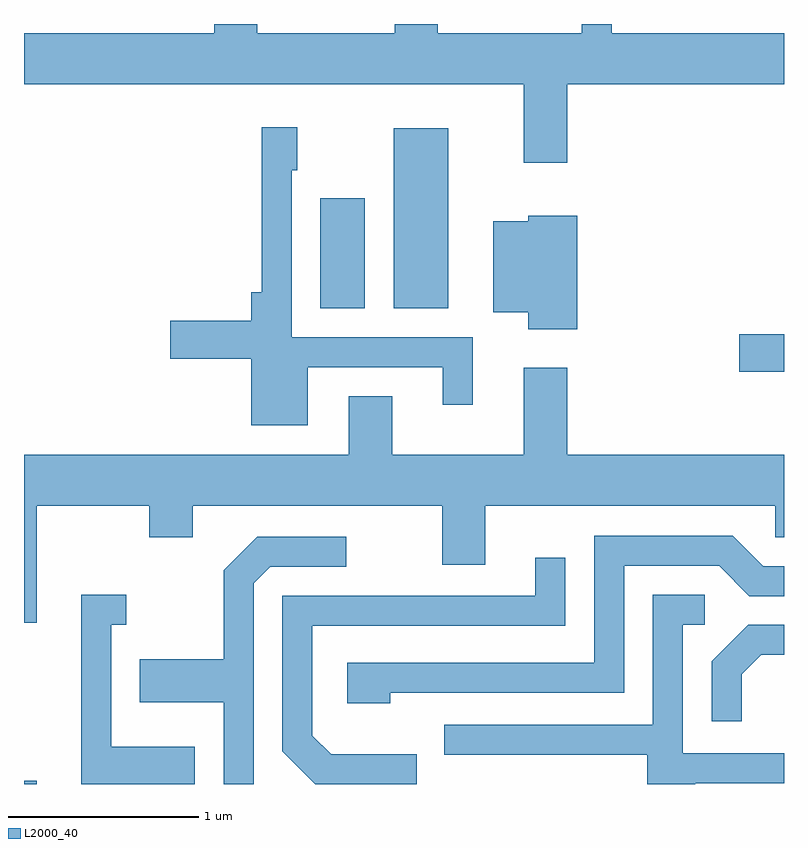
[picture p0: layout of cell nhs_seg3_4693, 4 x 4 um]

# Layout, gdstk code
import gdstk
lib = gdstk.Library(unit=1e-6, precision=1e-09)
def R(c, l, rs):  # rectangles x0, y0, x1, y1
    for r in rs: c.add(gdstk.rectangle(r[:2], r[2:], *l))
def P(c, l, *ps):  # polygons
    for p in ps: c.add(gdstk.Polygon(p, *l))
L2000_40 = (2000, 40)

nhs_seg3_4693 = lib.new_cell('nhs_seg3_4693')
R(nhs_seg3_4693, L2000_40, [(323.611,1117.892,323.679,1117.909), (327.376,1120.061,327.611,1120.259), (325.171,1120.396,325.404,1120.974), (325.556,1120.396,325.844,1121.344)])
P(nhs_seg3_4693, L2000_40, [(326.469,1121.576),(327.611,1121.576),(327.611,1121.844),(326.704,1121.844),(326.704,1121.892),(326.546,1121.892),(326.546,1121.844),(325.789,1121.844),(325.789,1121.892),(325.561,1121.892),(325.561,1121.844),(324.839,1121.844),(324.839,1121.892),(324.611,1121.892),(324.611,1121.844),(323.611,1121.844),(323.611,1121.576),(326.241,1121.576),(326.241,1121.161),(326.469,1121.161)],
  [(325.104,1120.086),(325.816,1120.086),(325.816,1119.888),(325.974,1119.888),(325.974,1120.244),(325.019,1120.244),(325.019,1121.121),(325.049,1121.121),(325.049,1121.349),(324.861,1121.349),(324.861,1120.479),(324.806,1120.479),(324.806,1120.329),(324.381,1120.329),(324.381,1120.131),(324.806,1120.131),(324.806,1119.781),(325.104,1119.781)],
  [(326.524,1120.884),(326.266,1120.884),(326.266,1120.854),(326.081,1120.854),(326.081,1120.376),(326.266,1120.376),(326.266,1120.286),(326.524,1120.286)],
  [(323.679,1119.356),(324.271,1119.356),(324.271,1119.191),(324.499,1119.191),(324.499,1119.356),(325.811,1119.356),(325.811,1119.046),(326.039,1119.046),(326.039,1119.356),(327.566,1119.356),(327.566,1119.191),(327.611,1119.191),(327.611,1119.624),(326.469,1119.624),(326.469,1120.084),(326.241,1120.084),(326.241,1119.624),(325.549,1119.624),(325.549,1119.934),(325.321,1119.934),(325.321,1119.624),(323.611,1119.624),(323.611,1118.741),(323.679,1118.741)],
  [(325.539,1118.371),(326.769,1118.371),(326.769,1119.041),(327.269,1119.041),(327.429,1118.881),(327.611,1118.881),(327.611,1119.039),(327.502,1119.039),(327.342,1119.199),(326.611,1119.199),(326.611,1118.529),(325.311,1118.529),(325.311,1118.316),(325.539,1118.316)],
  [(324.819,1118.949),(324.907,1119.036),(325.308,1119.036),(325.308,1119.194),(324.839,1119.194),(324.661,1119.017),(324.661,1118.549),(324.221,1118.549),(324.221,1118.321),(324.661,1118.321),(324.661,1117.892),(324.819,1117.892)],
  [(325.679,1118.049),(325.227,1118.049),(325.129,1118.147),(325.129,1118.726),(326.459,1118.726),(326.459,1119.083),(326.301,1119.083),(326.301,1118.884),(324.971,1118.884),(324.971,1118.064),(325.143,1117.892),(325.679,1117.892)],
  [(327.145,1117.896),(327.611,1117.896),(327.611,1118.054),(327.079,1118.054),(327.079,1118.731),(327.193,1118.731),(327.193,1118.889),(326.921,1118.889),(326.921,1118.204),(325.823,1118.204),(325.823,1118.046),(326.891,1118.046),(326.891,1117.892),(327.145,1117.892)],
  [(324.509,1118.089),(324.069,1118.089),(324.069,1118.731),(324.148,1118.731),(324.148,1118.889),(323.911,1118.889),(323.911,1117.892),(324.509,1117.892)],
  [(327.389,1118.469),(327.492,1118.571),(327.611,1118.571),(327.611,1118.729),(327.424,1118.729),(327.231,1118.537),(327.231,1118.223),(327.389,1118.223)])

lib.write_gds('nhs_seg3_4693.gds')
